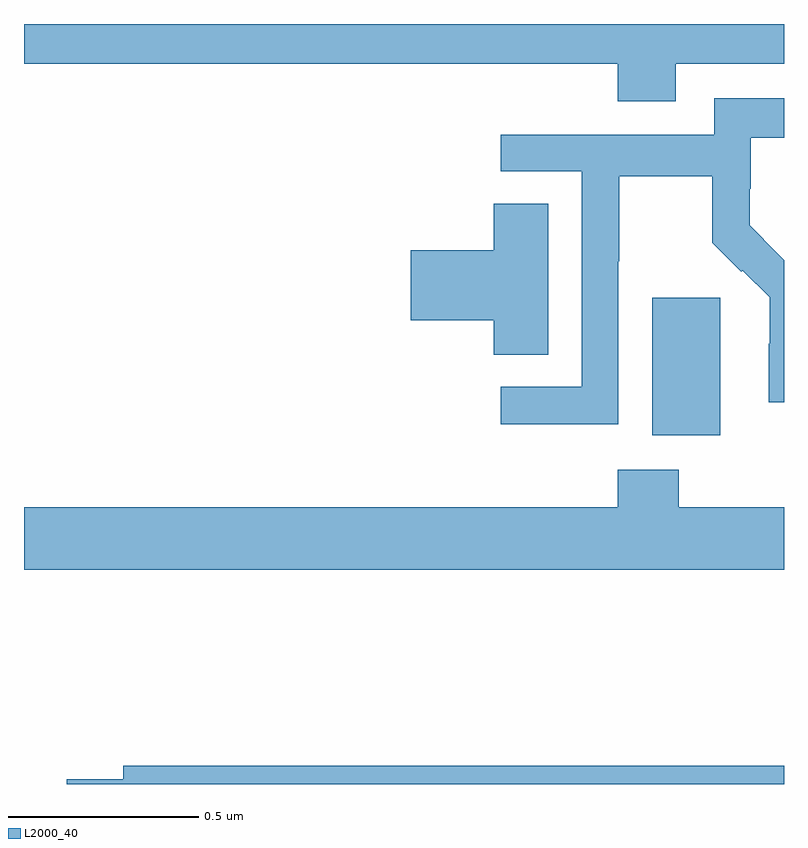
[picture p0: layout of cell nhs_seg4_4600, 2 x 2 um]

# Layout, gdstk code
import gdstk
lib = gdstk.Library(unit=1e-6, precision=1e-09)
def R(c, l, rs):  # rectangles x0, y0, x1, y1
    for r in rs: c.add(gdstk.rectangle(r[:2], r[2:], *l))
def P(c, l, *ps):  # polygons
    for p in ps: c.add(gdstk.Polygon(p, *l))
L2000_40 = (2000, 40)

nhs_seg4_4600 = lib.new_cell('nhs_seg4_4600')
R(nhs_seg4_4600, L2000_40, [(168.653,819.818,168.832,820.179)])
P(nhs_seg4_4600, L2000_40, [(168.715,820.796),(169,820.796),(169,820.9),(167,820.9),(167,820.796),(168.563,820.796),(168.563,820.697),(168.715,820.697)],
  [(168.564,820.276),(168.567,820.276),(168.567,820.5),(168.811,820.5),(168.811,820.325),(168.888,820.248),(168.891,820.251),(168.962,820.181),(168.962,820.058),(168.96,820.058),(168.96,819.904),(169,819.904),(169,820.278),(168.983,820.295),(168.984,820.296),(168.91,820.37),(168.91,820.467),(168.912,820.467),(168.912,820.601),(169,820.601),(169,820.705),(168.816,820.705),(168.816,820.608),(168.255,820.608),(168.255,820.512),(168.468,820.512),(168.468,819.945),(168.255,819.945),(168.255,819.847),(168.564,819.847)],
  [(168.379,820.427),(168.236,820.427),(168.236,820.304),(168.018,820.304),(168.018,820.121),(168.236,820.121),(168.236,820.03),(168.379,820.03)],
  [(169,819.628),(168.723,819.628),(168.723,819.727),(168.563,819.727),(168.563,819.628),(167,819.628),(167,819.464),(169,819.464)],
  [(169,818.948),(167.261,818.948),(167.261,818.912),(167.112,818.912),(167.112,818.9),(169,818.9)])

lib.write_gds('nhs_seg4_4600.gds')
